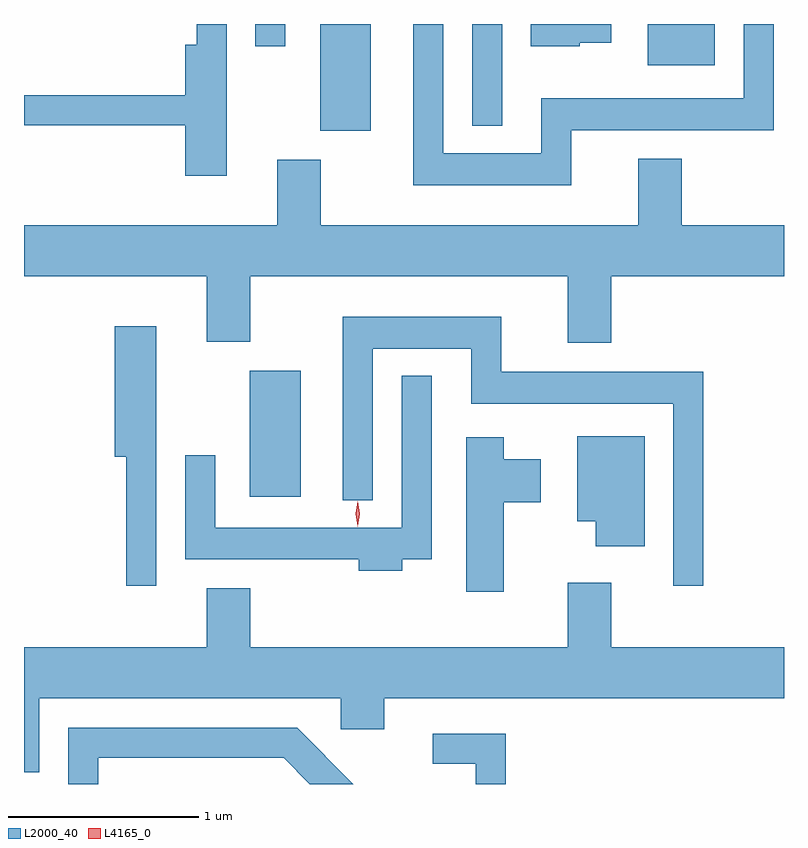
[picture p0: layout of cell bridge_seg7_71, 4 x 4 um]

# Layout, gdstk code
import gdstk
lib = gdstk.Library(unit=1e-6, precision=1e-09)
def R(c, l, rs):  # rectangles x0, y0, x1, y1
    for r in rs: c.add(gdstk.rectangle(r[:2], r[2:], *l))
def P(c, l, *ps):  # polygons
    for p in ps: c.add(gdstk.Polygon(p, *l))
L2000_40 = (2000, 40)
L4165_0 = (4165, 0)

bridge_seg7_71 = lib.new_cell('bridge_seg7_71')
R(bridge_seg7_71, L2000_40, [(1629.776,1779.756,1630.044,1780.419), (1630.146,1781.681,1630.414,1782.244), (1630.946,1781.708,1631.104,1782.244), (1631.871,1782.026,1632.224,1782.244), (1629.806,1782.128,1629.964,1782.244)])
P(bridge_seg7_71, L2000_40, [(1629.654,1782.244),(1629.496,1782.244),(1629.496,1782.134),(1629.436,1782.134),(1629.436,1781.869),(1628.588,1781.869),(1628.588,1781.711),(1629.436,1781.711),(1629.436,1781.446),(1629.654,1781.446)],
  [(1631.514,1782.146),(1631.679,1782.146),(1631.679,1782.244),(1631.256,1782.244),(1631.256,1782.126),(1631.514,1782.126)],
  [(1631.469,1781.686),(1632.534,1781.686),(1632.534,1782.244),(1632.376,1782.244),(1632.376,1781.854),(1631.311,1781.854),(1631.311,1781.564),(1630.794,1781.564),(1630.794,1782.244),(1630.636,1782.244),(1630.636,1781.396),(1631.469,1781.396)],
  [(1631.679,1780.916),(1632.588,1780.916),(1632.588,1781.184),(1632.049,1781.184),(1632.049,1781.534),(1631.821,1781.534),(1631.821,1781.184),(1630.149,1781.184),(1630.149,1781.529),(1629.921,1781.529),(1629.921,1781.184),(1628.588,1781.184),(1628.588,1780.916),(1629.551,1780.916),(1629.551,1780.571),(1629.779,1780.571),(1629.779,1780.916),(1631.451,1780.916),(1631.451,1780.566),(1631.679,1780.566)],
  [(1632.164,1780.414),(1631.099,1780.414),(1631.099,1780.704),(1630.266,1780.704),(1630.266,1779.738),(1630.424,1779.738),(1630.424,1780.536),(1630.941,1780.536),(1630.941,1780.246),(1632.006,1780.246),(1632.006,1779.288),(1632.164,1779.288)],
  [(1629.284,1780.654),(1629.066,1780.654),(1629.066,1779.966),(1629.126,1779.966),(1629.126,1779.288),(1629.284,1779.288)],
  [(1630.579,1779.426),(1630.734,1779.426),(1630.734,1780.393),(1630.576,1780.393),(1630.576,1779.594),(1629.594,1779.594),(1629.594,1779.973),(1629.436,1779.973),(1629.436,1779.426),(1630.351,1779.426),(1630.351,1779.366),(1630.579,1779.366)],
  [(1631.854,1780.074),(1631.501,1780.074),(1631.501,1779.626),(1631.596,1779.626),(1631.596,1779.496),(1631.854,1779.496)],
  [(1631.114,1779.726),(1631.309,1779.726),(1631.309,1779.954),(1631.114,1779.954),(1631.114,1780.069),(1630.916,1780.069),(1630.916,1779.256),(1631.114,1779.256)],
  [(1629.779,1779.274),(1629.551,1779.274),(1629.551,1778.964),(1628.588,1778.964),(1628.588,1778.306),(1628.669,1778.306),(1628.669,1778.696),(1630.256,1778.696),(1630.256,1778.531),(1630.484,1778.531),(1630.484,1778.696),(1632.588,1778.696),(1632.588,1778.964),(1631.679,1778.964),(1631.679,1779.304),(1631.451,1779.304),(1631.451,1778.964),(1629.779,1778.964)],
  [(1628.979,1778.381),(1629.954,1778.381),(1630.091,1778.244),(1630.322,1778.244),(1630.027,1778.539),(1628.821,1778.539),(1628.821,1778.244),(1628.979,1778.244)],
  [(1631.124,1778.509),(1630.738,1778.509),(1630.738,1778.351),(1630.966,1778.351),(1630.966,1778.244),(1631.124,1778.244)])
P(bridge_seg7_71, L4165_0, [(1630.345,1779.599),(1630.344,1779.6),(1630.335,1779.666),(1630.344,1779.732),(1630.345,1779.733),(1630.345,1779.732),(1630.355,1779.666),(1630.345,1779.6)])

lib.write_gds('bridge_seg7_71.gds')
